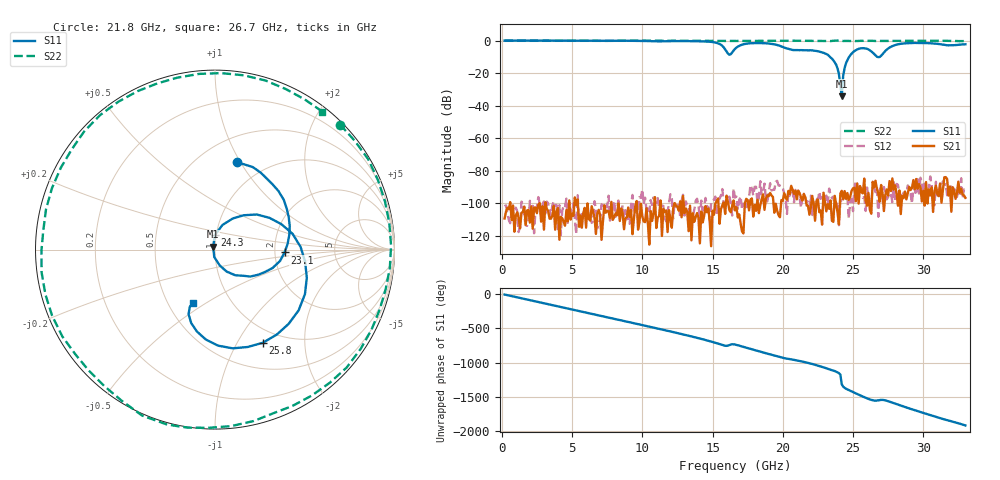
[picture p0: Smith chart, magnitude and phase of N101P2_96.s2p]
# GHZ S RI R 50
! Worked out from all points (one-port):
!   329 points, 200 MHz to 33 GHz, reference 50 ohm
!   lowest |S11| = -34.3 dB at 24.2 GHz (marker M1), VSWR 1.04, Z = 48.9 + j1.59 ohm
!   |S11| at or under -10 dB: 23.36 GHz to 24.73 GHz (1.366 GHz wide, 5.68 % of centre); 26.74 GHz to 26.91 GHz (167.8 MHz wide, 0.626 % of centre)
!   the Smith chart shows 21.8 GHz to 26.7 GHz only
!   S11 on the Smith chart (normalised r, x): 21.8 GHz: 0.75, +0.97; 23.1 GHz: 2.26, -0.09; 24.3 GHz: 0.99, +0.16; 25.8 GHz: 0.82, -1.29; 26.7 GHz: 0.67, -0.44
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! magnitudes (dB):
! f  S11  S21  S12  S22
! 200 MHz  0.0  -109.3  -101.7  0.0
! 5.7 GHz  -0.1  -114.9  -104.8  -0.1
! 11.2 GHz  -0.5  -107.8  -103.5  0.0
! 15.1 GHz  -1.0  -107.1  -97.6  -0.2
! 15.7 GHz  -3.2  -101.2  -91.2  -0.2
! 16.2 GHz  -8.7  -104.2  -95.9  -0.2
! 16.6 GHz  -5.1  -104.4  -96.5  -0.2
! 18.4 GHz  -1.5  -101.2  -86.4  -0.2
! 21.8 GHz  -6.0  -101.4  -99.0  -0.1
! 22.1 GHz  -6.0  -95.5  -107.2  -0.1
! 23.1 GHz  -8.2  -104.9  -95.2  -0.2
! 23.9 GHz  -17.1  -105.8  -99.2  0.1
! 24 GHz  -20.7  -112.9  -113.5  0.1
! 24.2 GHz  -34.3  -92.3  -98.1  -0.2
! 24.3 GHz  -21.7  -97.6  -98.8  -0.2
! 24.5 GHz  -14.0  -97.3  -95.1  -0.2
! 24.8 GHz  -9.1  -96.0  -98.9  -0.2
! 25.8 GHz  -4.7  -84.8  -96.1  -0.2
! 26.7 GHz  -9.9  -91.0  -89.8  -0.2
! 27.6 GHz  -4.3  -86.3  -93.9  -0.2
! 28.9 GHz  -1.6  -93.9  -89.0  -0.1
! 33 GHz  -2.3  -96.6  -91.5  -0.3
